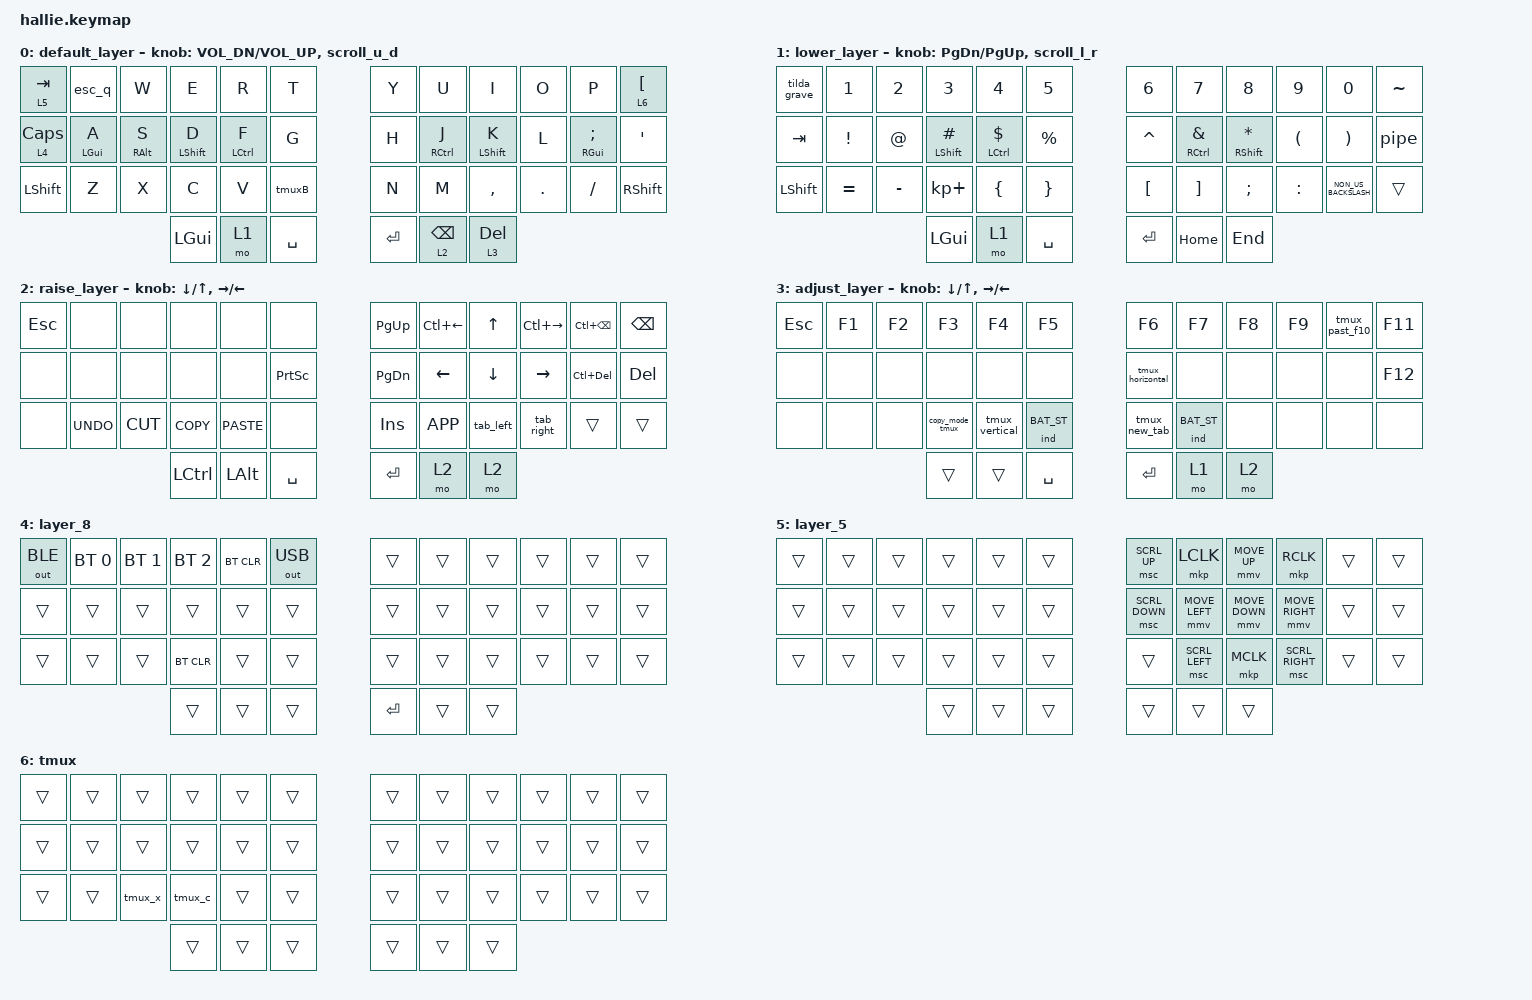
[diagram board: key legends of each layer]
#undef ZMK_BEHAVIORS_KEEP_ALL

#define ZMK_BEHAVIORS_KEEP_IND
#define ZMK_BEHAVIORS_KEEP_BT
#define ZMK_BEHAVIORS_KEEP_GRESC
#define ZMK_BEHAVIORS_KEEP_SYS_RESET
#define ZMK_BEHAVIORS_KEEP_BOOTLOADER
#define ZMK_BEHAVIORS_KEEP_CAPS_WORD
#define ZMK_BEHAVIORS_KEEP_KEY_REPEAT
#define ZMK_BEHAVIORS_KEEP_KT
#define ZMK_BEHAVIORS_KEEP_LT
#define ZMK_BEHAVIORS_KEEP_MT
#define ZMK_BEHAVIORS_KEEP_SK
#define ZMK_BEHAVIORS_KEEP_STICKY_LAYER
#define ZMK_BEHAVIORS_KEEP_TO
#define ZMK_BEHAVIORS_KEEP_TOG
#define ZMK_BEHAVIORS_KEEP_TRANS

#include <dt-bindings/zmk/indicators.h>
#include <behaviors.dtsi>
#include <dt-bindings/zmk/bt.h>
#include <dt-bindings/zmk/keys.h>
#include <dt-bindings/zmk/outputs.h>
#include <dt-bindings/zmk/pointing.h>

#define DEF 0
#define LWR 1
#define RSE 2
#define ADJ 3

&lt { quick_tap_ms = <200>; };

&mt {
    bindings = <&kp>, <&kp>;

    flavor = "tap-preferred";
};

/ {
    macros {
        tab_right: tab_right {
            compatible = "zmk,behavior-macro";
            #binding-cells = <0>;
            bindings = <&kp LC(TAB)>;
            label = "TAB_RIGHT";
        };

        tab_left: tab_left {
            compatible = "zmk,behavior-macro";
            #binding-cells = <0>;
            bindings = <&kp LC(LS(TAB))>;
            label = "TAB_LEFT";
        };

        tmux_h: tmux_h {
            compatible = "zmk,behavior-macro";
            #binding-cells = <0>;
            bindings = <&kp LC(B) &kp H>;
            label = "TMUX_H";
        };

        tmux_j: tmux_j {
            compatible = "zmk,behavior-macro";
            #binding-cells = <0>;
            bindings = <&kp LC(B) &kp J>;
            label = "TMUX_J";
        };

        tmux_k: tmux_k {
            compatible = "zmk,behavior-macro";
            #binding-cells = <0>;
            bindings = <&kp LC(B) &kp K>;
            label = "TMUX_K";
        };

        tmux_l: tmux_l {
            compatible = "zmk,behavior-macro";
            #binding-cells = <0>;
            bindings = <&kp LC(B) &kp L>;
            label = "TMUX_L";
        };

        tmux_v: tmux_v {
            compatible = "zmk,behavior-macro";
            #binding-cells = <0>;
            bindings = <&kp LC(B) &kp V>;
            label = "TMUX_SPLIT_H";
        };

        tmux_s: tmux_s {
            compatible = "zmk,behavior-macro";
            #binding-cells = <0>;
            bindings = <&kp LC(B) &kp S>;
            label = "TMUX_SPLIT_V";
        };

        tmux_n: tmux_n {
            compatible = "zmk,behavior-macro";
            #binding-cells = <0>;
            bindings = <&kp LC(B) &kp N>;
            label = "TMUX_NEXT_WIN";
        };

        tmux_p: tmux_p {
            compatible = "zmk,behavior-macro";
            #binding-cells = <0>;
            bindings = <&kp LC(B) &kp P>;
            label = "TMUX_PREV_WIN";
        };

        tmux_z: tmux_z {
            compatible = "zmk,behavior-macro";
            #binding-cells = <0>;
            bindings = <&kp LC(B) &kp Z>;
            label = "TMUX_ZOOM";
        };

        tmux_x: tmux_x {
            compatible = "zmk,behavior-macro";
            #binding-cells = <0>;
            bindings = <&kp LC(B) &kp X>;
            label = "TMUX_KILL";
        };

        tmux_c: tmux_c {
            compatible = "zmk,behavior-macro";
            #binding-cells = <0>;
            bindings = <&kp LC(B) &kp C>;
            label = "TMUX_NEW_WIN";
        };

        tmux_r: tmux_r {
            compatible = "zmk,behavior-macro";
            #binding-cells = <0>;
            bindings = <&kp LC(B) &kp R>;
            label = "TMUX_RENAME";
        };

        tmux_d: tmux_d {
            compatible = "zmk,behavior-macro";
            #binding-cells = <0>;
            bindings = <&kp LC(B) &kp D>;
            label = "TMUX_DETACH";
        };
    };

    behaviors {
        insert_up: insert_up {
            compatible = "zmk,behavior-tap-dance";
            label = "INSERT_UP";
            #binding-cells = <0>;
            tapping-term-ms = <200>;
            bindings = <&kp UP_ARROW>, <&kp INSERT>;
        };

        esc_q: esc_q {
            compatible = "zmk,behavior-tap-dance";
            label = "ESC_Q";
            #binding-cells = <0>;
            bindings = <&kp Q>, <&kp ESCAPE>;
        };

        tmuxB: tmuxB {
            compatible = "zmk,behavior-tap-dance";
            label = "TMUXB";
            #binding-cells = <0>;
            bindings = <&kp B>, <&kp LC(B)>;
        };

        tmux_past_f10: tmux_past_f10 {
            compatible = "zmk,behavior-tap-dance";
            label = "TMUX_PAST_F10";
            #binding-cells = <0>;
            bindings = <&kp F10>, <&tmux_past>;
        };

        pipe: pipe {
            compatible = "zmk,behavior-tap-dance";
            label = "PIPE";
            #binding-cells = <0>;
            bindings = <&kp PIPE>, <&kp BACKSLASH>;
        };

        tilda_grave: tilda_grave {
            compatible = "zmk,behavior-tap-dance";
            label = "TILDA_GRAVE";
            #binding-cells = <0>;
            bindings = <&kp TILDE>, <&kp GRAVE>;
        };
    };

    keymap {
        compatible = "zmk,keymap";

        default_layer {
            bindings = <
&lt 5 TAB       &esc_q          &kp W            &kp E             &kp R               &kp T        &kp Y      &kp U                &kp I             &kp O    &kp P                    &lt 6 LEFT_BRACKET
&lt 4 CAPSLOCK  &mt LEFT_GUI A  &mt RIGHT_ALT S  &mt LEFT_SHIFT D  &mt LEFT_CONTROL F  &kp G        &kp H      &mt RIGHT_CONTROL J  &mt LEFT_SHIFT K  &kp L    &mt RIGHT_GUI SEMICOLON  &kp SQT
&kp LEFT_SHIFT  &kp Z           &kp X            &kp C             &kp V               &tmuxB       &kp N      &kp M                &kp COMMA         &kp DOT  &kp SLASH                &kp RIGHT_SHIFT
                                                 &kp LGUI          &mo 1               &kp SPACE    &kp ENTER  &lt 2 BACKSPACE      &lt 3 DELETE
            >;

            sensor-bindings = <&inc_dec_kp C_VOL_DN C_VOL_UP &scroll_u_d>;
        };

        lower_layer {
            bindings = <
&tilda_grave  &kp NUMBER_1     &kp NUMBER_2  &kp NUMBER_3         &kp NUMBER_4             &kp N5         &kp NUMBER_6      &kp N7                       &kp N8                    &kp N9                &kp N0                 &kp TILDE
&kp TAB       &kp EXCLAMATION  &kp AT_SIGN   &mt LEFT_SHIFT HASH  &mt LEFT_CONTROL DOLLAR  &kp PERCENT    &kp CARET         &mt RIGHT_CONTROL AMPERSAND  &mt RIGHT_SHIFT ASTERISK  &kp LEFT_PARENTHESIS  &kp RIGHT_PARENTHESIS  &pipe
&kp LSHFT     &kp EQUAL        &kp MINUS     &kp KP_PLUS          &kp LBRC                 &kp RBRC       &kp LEFT_BRACKET  &kp RIGHT_BRACKET            &kp SEMICOLON             &kp COLON             &kp NON_US_BACKSLASH   &trans
                                             &kp LEFT_GUI         &mo 1                    &kp SPACE      &kp ENTER         &kp HOME                     &kp END
            >;

            sensor-bindings = <&inc_dec_kp PG_DN PG_UP &scroll_l_r>;
        };

        raise_layer {
            bindings = <
&kp ESC  &none       &none      &none             &none         &none              &kp PAGE_UP    &kp LC(LEFT_ARROW)  &kp UP_ARROW    &kp LC(RIGHT)  &kp LC(BACKSPACE)  &kp BACKSPACE
&none    &none       &none      &none             &none         &kp PRINTSCREEN    &kp PAGE_DOWN  &kp LEFT_ARROW      &kp DOWN_ARROW  &kp RIGHT      &kp LC(DELETE)     &kp DELETE
&none    &kp K_UNDO  &kp K_CUT  &kp K_COPY        &kp K_PASTE   &none              &kp INSERT     &kp K_APP           &tab_left       &tab_right     &trans             &trans
                                &kp LEFT_CONTROL  &kp LEFT_ALT  &kp SPACE          &kp ENTER      &mo 2               &mo 2
            >;

            sensor-bindings = <&inc_dec_kp DOWN_ARROW UP_ARROW &inc_dec_kp RIGHT_ARROW LEFT_ARROW>;
        };

        adjust_layer {
            bindings = <
&kp ESCAPE  &kp F1  &kp F2  &kp F3           &kp F4          &kp F5         &kp F6            &kp F7       &kp F8  &kp F9  &tmux_past_f10  &kp F11
&none       &none   &none   &none            &none           &none          &tmux_horizontal  &none        &none   &none   &none           &kp F12
&none       &none   &none   &copy_mode_tmux  &tmux_vertical  &ind BAT_ST    &tmux_new_tab     &ind BAT_ST  &none   &none   &none           &none
                            &trans           &trans          &kp SPACE      &kp ENTER         &mo 1        &mo 2
            >;

            sensor-bindings = <&inc_dec_kp DOWN_ARROW UP_ARROW &inc_dec_kp RIGHT_ARROW LEFT_ARROW>;
        };

        layer_8 {
            bindings = <
&out OUT_BLE  &bt BT_SEL 0  &bt BT_SEL 1  &bt BT_SEL 2  &bt BT_CLR  &out OUT_USB    &trans     &trans  &trans  &trans  &trans  &trans
&trans        &trans        &trans        &trans        &trans      &trans          &trans     &trans  &trans  &trans  &trans  &trans
&trans        &trans        &trans        &bt BT_CLR    &trans      &trans          &trans     &trans  &trans  &trans  &trans  &trans
                                          &trans        &trans      &trans          &kp ENTER  &trans  &trans
            >;
        };

        layer_5 {
            bindings = <
&trans  &trans  &trans  &trans  &trans  &trans    &msc SCRL_UP    &mkp LCLK       &mmv MOVE_UP    &mkp RCLK        &trans  &trans
&trans  &trans  &trans  &trans  &trans  &trans    &msc SCRL_DOWN  &mmv MOVE_LEFT  &mmv MOVE_DOWN  &mmv MOVE_RIGHT  &trans  &trans
&trans  &trans  &trans  &trans  &trans  &trans    &trans          &msc SCRL_LEFT  &mkp MCLK       &msc SCRL_RIGHT  &trans  &trans
                        &trans  &trans  &trans    &trans          &trans          &trans
            >;
        };

        tmux {
            bindings = <
&trans  &trans  &trans   &trans   &trans  &trans    &trans  &trans  &trans  &trans  &trans  &trans
&trans  &trans  &trans   &trans   &trans  &trans    &trans  &trans  &trans  &trans  &trans  &trans
&trans  &trans  &tmux_x  &tmux_c  &trans  &trans    &trans  &trans  &trans  &trans  &trans  &trans
                         &trans   &trans  &trans    &trans  &trans  &trans
            >;
        };
    };
};
